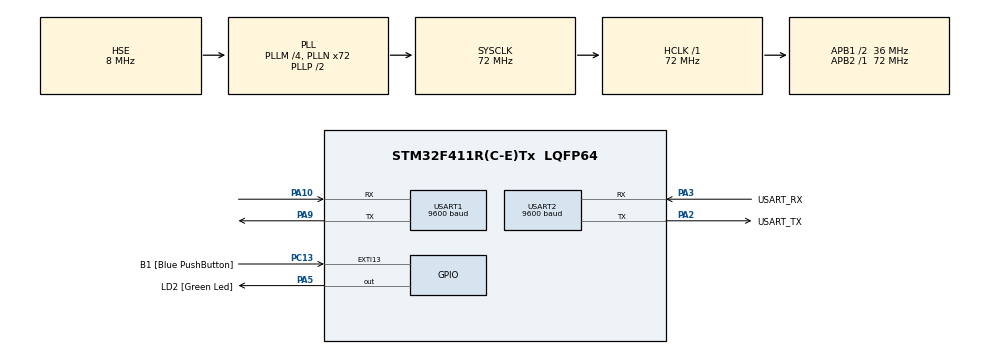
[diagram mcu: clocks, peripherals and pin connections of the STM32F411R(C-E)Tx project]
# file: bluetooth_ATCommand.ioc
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Mcu.Family=STM32F4
Mcu.Name=STM32F411R(C-E)Tx
Mcu.Package=LQFP64
NVIC.PriorityGroup=NVIC_PRIORITYGROUP_0
NVIC.USART1_IRQn=true\:0\:0\:false\:false\:true\:true\:true
NVIC.USART2_IRQn=true\:0\:0\:false\:false\:true\:true\:true
PA10.Mode=Asynchronous
PA10.Signal=USART1_RX
PA13.GPIO_Label=TMS
PA13.Mode=Serial_Wire
PA13.Signal=SYS_JTMS-SWDIO
PA14.GPIO_Label=TCK
PA14.Mode=Serial_Wire
PA14.Signal=SYS_JTCK-SWCLK
PA2.GPIO_Label=USART_TX
PA2.Mode=Asynchronous
PA2.Signal=USART2_TX
PA3.GPIO_Label=USART_RX
PA3.Mode=Asynchronous
PA3.Signal=USART2_RX
PA5.GPIO_Label=LD2 [Green Led]
PA5.Signal=GPIO_Output
PA9.Mode=Asynchronous
PA9.Signal=USART1_TX
PB3.GPIO_Label=SWO
PB3.Signal=SYS_JTDO-SWO
PC13-ANTI_TAMP.GPIO_Label=B1 [Blue PushButton]
PC13-ANTI_TAMP.GPIO_ModeDefaultEXTI=GPIO_MODE_IT_FALLING
PC13-ANTI_TAMP.Signal=GPXTI13
PC14-OSC32_IN.Mode=LSE-External-Oscillator
PC14-OSC32_IN.Signal=RCC_OSC32_IN
PC15-OSC32_OUT.Mode=LSE-External-Oscillator
PC15-OSC32_OUT.Signal=RCC_OSC32_OUT
PH0\ -\ OSC_IN.Mode=HSE-External-Clock-Source
PH0\ -\ OSC_IN.Signal=RCC_OSC_IN
PH1\ -\ OSC_OUT.Mode=HSE-External-Clock-Source
PH1\ -\ OSC_OUT.Signal=RCC_OSC_OUT
ProjectManager.HeapSize=0x200
ProjectManager.StackSize=0x400
ProjectManager.TargetToolchain=STM32CubeIDE
RCC.48MHZClocksFreq_Value=36000000
RCC.AHBFreq_Value=72000000
RCC.APB1CLKDivider=RCC_HCLK_DIV2
RCC.APB1Freq_Value=36000000
RCC.APB1TimFreq_Value=72000000
RCC.APB2Freq_Value=72000000
RCC.APB2TimFreq_Value=72000000
RCC.CortexFreq_Value=72000000
RCC.FLatency-AdvancedSettings=FLASH_LATENCY_2
RCC.HCLKFreq_Value=72000000
RCC.HSE_VALUE=8000000
RCC.HSI_VALUE=16000000
RCC.PLLM=4
RCC.PLLN=72
RCC.PLLSourceVirtual=RCC_PLLSOURCE_HSE
RCC.SYSCLKFreq_VALUE=72000000
RCC.SYSCLKSource=RCC_SYSCLKSOURCE_PLLCLK
RCC.VCOOutputFreq_Value=144000000
USART1.BaudRate=9600
USART1.VirtualMode=VM_ASYNC
USART2.BaudRate=9600
USART2.VirtualMode=VM_ASYNC
board=NUCLEO-F411RE

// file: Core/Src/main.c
/* USER CODE BEGIN Header */
/**
  ******************************************************************************
  * @file           : main.c
  * @brief          : Main program body
  ******************************************************************************
  * @attention
  *
  * <h2><center>&copy; Copyright (c) 2025 STMicroelectronics.
  * All rights reserved.</center></h2>
  *
  * This software component is licensed by ST under BSD 3-Clause license,
  * the "License"; You may not use this file except in compliance with the
  * License. You may obtain a copy of the License at:
  *                        opensource.org/licenses/BSD-3-Clause
  *
  ******************************************************************************
  */
/* USER CODE END Header */
#include "main.h"

/* USER CODE BEGIN Includes */
#include <string.h>
/* USER CODE END Includes */

UART_HandleTypeDef huart1;
UART_HandleTypeDef huart2;

void SystemClock_Config(void);
static void MX_GPIO_Init(void);
static void MX_USART2_UART_Init(void);
static void MX_USART1_UART_Init(void);

/* USER CODE BEGIN 0 */
int _write(int file, char *ptr, int len)
{
  (void)file;
  HAL_UART_Transmit(&huart2, ptr, len, HAL_MAX_DELAY);
  return len;
}

uint8_t uart2RxData;
uint8_t uart2RxFlag;
uint8_t uart2RxTail = 0;
uint8_t uart2RxBuff[50];
uint8_t uart1RxData;
uint8_t uart1RxFlag;
uint8_t uart1RxTail = 0;
uint8_t uart1RxBuff[50];

void HAL_UART_RxCpltCallback(UART_HandleTypeDef *huart){
	if(huart->Instance == USART2){
		// Queue the message until a newline character('\n') appears.
		// 0x0a mean '\n'
		if(uart2RxData == 0x0a){
			uart2RxBuff[uart2RxTail] = uart2RxData; // put 0x0a
			// because BT need 0x0a!!!
			uart2RxTail++;
			uart2RxBuff[uart2RxTail] = '\0';
			uart2RxTail = 0;
			uart2RxFlag = 1;
		}
		else {
			uart2RxBuff[uart2RxTail] = uart2RxData;
			uart2RxTail++;
		}
		HAL_UART_Receive_IT(&huart2, &uart2RxData, 1);
	}
	else if(huart->Instance == USART1){
		if(uart1RxData == 0x0a){
			uart1RxBuff[uart1RxTail] = uart1RxData; // put 0x0a
			// because BT need 0x0a!!!
			uart1RxTail++;
			uart1RxBuff[uart1RxTail] = '\0';
			uart1RxTail = 0;
			uart1RxFlag = 1;
		}
		else{
			uart1RxBuff[uart1RxTail] = uart1RxData;
			uart1RxTail++;
		}
		HAL_UART_Receive_IT(&huart1, &uart1RxData, 1);
	}
}

/* USER CODE END 0 */

int main(void)
{

  /* MCU Configuration--------------------------------------------------------*/

  /* Reset of all peripherals, Initializes the Flash interface and the Systick. */
  HAL_Init();

  /* Configure the system clock */
  SystemClock_Config();

  /* Initialize all configured peripherals */
  MX_GPIO_Init();
  MX_USART2_UART_Init();
  MX_USART1_UART_Init();
  /* USER CODE BEGIN 2 */
  HAL_UART_Receive_IT(&huart2, &uart2RxData, 1);
  HAL_UART_Receive_IT(&huart1, &uart1RxData, 1);
  /* USER CODE END 2 */

  /* Infinite loop */
  /* USER CODE BEGIN WHILE */
  while (1)
  {
	  if(uart2RxFlag){
		  uart2RxFlag = 0;
		  // UART2 : PC <-> Nucleo
		  // when UART2 receives a message, UART2 send message to UART1(Bluetooth)
//		  sprintf(uart2RxBuff,"%s\n");
//		  printf("%s\n",uart2RxBuff);
		  HAL_UART_Transmit(&huart1, uart2RxBuff, strlen(uart2RxBuff),100);
	  }else if(uart1RxFlag){
		  uart1RxFlag = 0;
		  // UART1 : PC(USB TO TTL) <-> BT
		  // when UART1 receives a message, UART1 send message to UART2(PC)
		  HAL_UART_Transmit(&huart2, uart1RxBuff, strlen(uart1RxBuff),100);
	  }
    /* USER CODE END WHILE */

  }
}

void SystemClock_Config(void)
{
  RCC_OscInitTypeDef RCC_OscInitStruct = {0};
  RCC_ClkInitTypeDef RCC_ClkInitStruct = {0};

  /** Configure the main internal regulator output voltage
  */
  __HAL_RCC_PWR_CLK_ENABLE();
  __HAL_PWR_VOLTAGESCALING_CONFIG(PWR_REGULATOR_VOLTAGE_SCALE1);
  /** Initializes the RCC Oscillators according to the specified parameters
  * in the RCC_OscInitTypeDef structure.
  */
  RCC_OscInitStruct.OscillatorType = RCC_OSCILLATORTYPE_HSE;
  RCC_OscInitStruct.HSEState = RCC_HSE_BYPASS;
  RCC_OscInitStruct.PLL.PLLState = RCC_PLL_ON;
  RCC_OscInitStruct.PLL.PLLSource = RCC_PLLSOURCE_HSE;
  RCC_OscInitStruct.PLL.PLLM = 4;
  RCC_OscInitStruct.PLL.PLLN = 72;
  RCC_OscInitStruct.PLL.PLLP = RCC_PLLP_DIV2;
  RCC_OscInitStruct.PLL.PLLQ = 4;
  if (HAL_RCC_OscConfig(&RCC_OscInitStruct) != HAL_OK)
  {
    Error_Handler();
  }
  /** Initializes the CPU, AHB and APB buses clocks
  */
  RCC_ClkInitStruct.ClockType = RCC_CLOCKTYPE_HCLK|RCC_CLOCKTYPE_SYSCLK
                              |RCC_CLOCKTYPE_PCLK1|RCC_CLOCKTYPE_PCLK2;
  RCC_ClkInitStruct.SYSCLKSource = RCC_SYSCLKSOURCE_PLLCLK;
  RCC_ClkInitStruct.AHBCLKDivider = RCC_SYSCLK_DIV1;
  RCC_ClkInitStruct.APB1CLKDivider = RCC_HCLK_DIV2;
  RCC_ClkInitStruct.APB2CLKDivider = RCC_HCLK_DIV1;

  if (HAL_RCC_ClockConfig(&RCC_ClkInitStruct, FLASH_LATENCY_2) != HAL_OK)
  {
    Error_Handler();
  }
}

static void MX_USART1_UART_Init(void)
{

  huart1.Instance = USART1;
  huart1.Init.BaudRate = 9600;
  huart1.Init.WordLength = UART_WORDLENGTH_8B;
  huart1.Init.StopBits = UART_STOPBITS_1;
  huart1.Init.Parity = UART_PARITY_NONE;
  huart1.Init.Mode = UART_MODE_TX_RX;
  huart1.Init.HwFlowCtl = UART_HWCONTROL_NONE;
  huart1.Init.OverSampling = UART_OVERSAMPLING_16;
  if (HAL_UART_Init(&huart1) != HAL_OK)
  {
    Error_Handler();
  }

}

static void MX_USART2_UART_Init(void)
{

  huart2.Instance = USART2;
  huart2.Init.BaudRate = 9600;
  huart2.Init.WordLength = UART_WORDLENGTH_8B;
  huart2.Init.StopBits = UART_STOPBITS_1;
  huart2.Init.Parity = UART_PARITY_NONE;
  huart2.Init.Mode = UART_MODE_TX_RX;
  huart2.Init.HwFlowCtl = UART_HWCONTROL_NONE;
  huart2.Init.OverSampling = UART_OVERSAMPLING_16;
  if (HAL_UART_Init(&huart2) != HAL_OK)
  {
    Error_Handler();
  }

}

static void MX_GPIO_Init(void)
{
  GPIO_InitTypeDef GPIO_InitStruct = {0};

  /* GPIO Ports Clock Enable */
  __HAL_RCC_GPIOC_CLK_ENABLE();
  __HAL_RCC_GPIOH_CLK_ENABLE();
  __HAL_RCC_GPIOA_CLK_ENABLE();
  __HAL_RCC_GPIOB_CLK_ENABLE();

  /*Configure GPIO pin Output Level */
  HAL_GPIO_WritePin(LD2_GPIO_Port, LD2_Pin, GPIO_PIN_RESET);

  /*Configure GPIO pin : B1_Pin */
  GPIO_InitStruct.Pin = B1_Pin;
  GPIO_InitStruct.Mode = GPIO_MODE_IT_FALLING;
  GPIO_InitStruct.Pull = GPIO_NOPULL;
  HAL_GPIO_Init(B1_GPIO_Port, &GPIO_InitStruct);

  /*Configure GPIO pin : LD2_Pin */
  GPIO_InitStruct.Pin = LD2_Pin;
  GPIO_InitStruct.Mode = GPIO_MODE_OUTPUT_PP;
  GPIO_InitStruct.Pull = GPIO_NOPULL;
  GPIO_InitStruct.Speed = GPIO_SPEED_FREQ_LOW;
  HAL_GPIO_Init(LD2_GPIO_Port, &GPIO_InitStruct);

}

void Error_Handler(void)
{
  __disable_irq();
  while (1)
  {
  }
}

/************************ (C) COPYRIGHT STMicroelectronics *****END OF FILE****/
